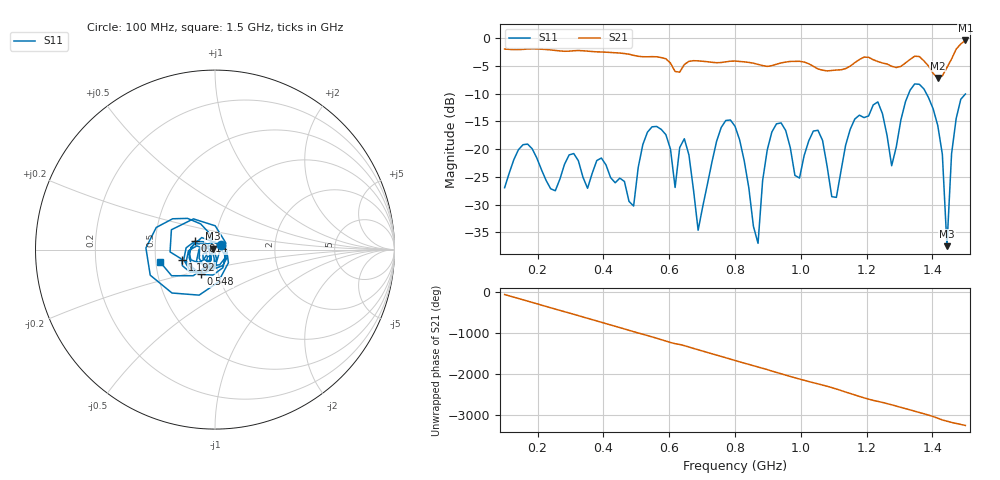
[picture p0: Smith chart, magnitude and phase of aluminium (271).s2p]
! NanoVNA-App
! Date: 2025-09-25 14:57:23
! Start: 100MHz Stop: 1,5GHz Points: 101
! S-Parameter data: F S11 S21 S12 S22
# Hz S RI R 50
!  Frequency  S11_Real  S11_Imag  S21_Real  S21_Imag  S12_Real  S12_Imag  S22_Real  S22_Imag
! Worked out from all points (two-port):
!   101 points, 100 MHz to 1.5 GHz, reference 50 ohm
!   highest |S21| = -0.38 dB at 1.5 GHz (marker M1); lowest = -7.2 dB at 1.416 GHz (marker M2)
!   |S21| within 3 dB of the highest: start of sweep to 567.2 MHz; 1.461 GHz to end of sweep (the widest 2 of 3)
!   lowest |S11| = -37.5 dB at 1.444 GHz (marker M3), VSWR 1.03, Z = 48.8 + j0.516 ohm
!   |S11| at or under -10 dB: start of sweep to 1.328 GHz; 1.382 GHz to end of sweep
!   S12 and S22 are empty: the file has one direction only
!   S11 on the Smith chart (normalised r, x): 100 MHz: 1.07, +0.06; 548 MHz: 0.82, -0.23; 814 MHz: 0.79, +0.07; 1.192 GHz: 0.69, -0.08; 1.5 GHz: 0.53, -0.08
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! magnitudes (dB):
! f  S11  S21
! 100 MHz  -27.0  -1.9
! 338 MHz  -25.1  -2.2
! 492 MHz  -30.3  -3.1
! 548 MHz  -16.0  -3.3
! 576 MHz  -16.4  -3.5
! 618 MHz  -26.9  -6.0
! 646 MHz  -18.1  -4.7
! 688 MHz  -34.6  -4.1
! 800 MHz  -15.9  -4.1
! 814 MHz  -18.3  -4.2
! 870 MHz  -37.0  -4.7
! 912 MHz  -16.9  -4.9
! 996 MHz  -25.2  -4.1
! 1.038 GHz  -16.7  -5.0
! 1.108 GHz  -28.7  -5.7
! 1.192 GHz  -14.3  -3.4
! 1.276 GHz  -23.0  -5.0
! 1.346 GHz  -8.2  -3.2
! 1.416 GHz  -15.7  -7.2
! 1.444 GHz  -37.5  -5.3
! 1.458 GHz  -20.8  -3.7
! 1.5 GHz  -10.0  -0.4
